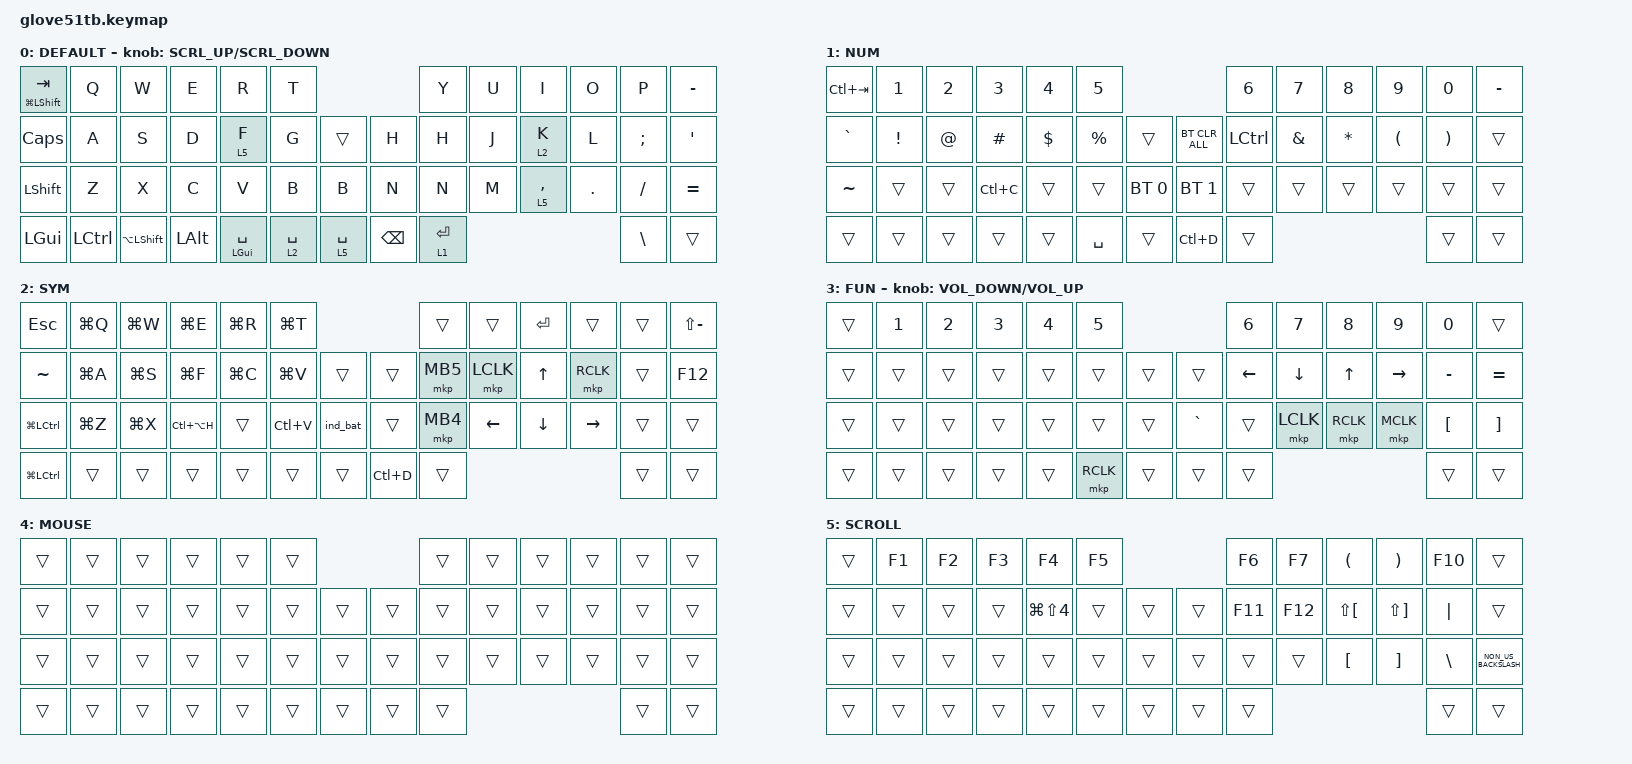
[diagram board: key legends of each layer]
#define ZMK_POINTING_DEFAULT_SCRL_VAL 150

#include <behaviors/rgbled_widget.dtsi>
#include <dt-bindings/zmk/input_transform.h>
#include <input/processors.dtsi>
#include <zephyr/dt-bindings/input/input-event-codes.h>
#include <behaviors.dtsi>
#include <dt-bindings/zmk/bt.h>
#include <dt-bindings/zmk/keys.h>
#include <dt-bindings/zmk/pointing.h>

// Layer Numbering

#define DEFAULT 0
#define NUM     1
#define SYM     2
#define FUN     3
#define MOUSE   4
#define SCROLL  5

&mmv {
    delay-ms = <20>;
    trigger-period-ms = <5>;
    time-to-max-speed-ms = <100>;
    acceleration-exponent = <2>;
};

&msc {
    delay-ms = <3>;
    trigger-period-ms = <3>;
    time-to-max-speed-ms = <100>;
    acceleration-exponent = <0>;
};

/ {
    input_processors {
        zip_wheel_scaler: zip_wheel_scaler {
            compatible = "zmk,input-processor-scaler";
            #input-processor-cells = <2>;
            type = <INPUT_EV_REL>;
            codes = <INPUT_REL_WHEEL>;
            track-remainders;
        };
    };
};

/ {
    combos {
        compatible = "zmk,combos";

        scroll {
            bindings = <&mo 5>;
            key-positions = <35 36>;
        };
    };

    behaviors {
        sensor_rotate_kp: sensor_rotate_kp {
            compatible = "zmk,behavior-sensor-rotate-var";
            #sensor-binding-cells = <2>;
            bindings = <&kp>, <&kp>;
        };

        mouse_wheel_scroll: mouse_wheel_scroll {
            compatible = "zmk,behavior-sensor-rotate-var";
            #sensor-binding-cells = <2>;
            bindings = <&msc>, <&msc>;

            tap-ms = <20>;
        };
    };

    keymap {
        compatible = "zmk,keymap";

        default_layer {
            label = "DEFAULT";
            bindings = <
&mt LG(LEFT_SHIFT) TAB  &kp Q             &kp W               &kp E         &kp R               &kp T                                    &kp Y        &kp U  &kp I        &kp O    &kp P          &kp MINUS
&kp CLCK                &kp A             &kp S               &kp D         &lt 5 F             &kp G        &trans       &kp H          &kp H        &kp J  &lt 2 K      &kp L    &kp SEMI       &kp SINGLE_QUOTE
&kp LEFT_SHIFT          &kp Z             &kp X               &kp C         &kp V               &kp B        &kp B        &kp N          &kp N        &kp M  &lt 5 COMMA  &kp DOT  &kp FSLH       &kp EQUAL
&kp LEFT_GUI            &kp LEFT_CONTROL  &kp LA(LEFT_SHIFT)  &kp LEFT_ALT  &mt LEFT_GUI SPACE  &lt 2 SPACE  &lt 5 SPACE  &kp BACKSPACE  &lt 1 ENTER                               &kp BACKSLASH  &trans
            >;

            sensor-bindings = <&mouse_wheel_scroll SCRL_UP SCRL_DOWN>;
        };

        number_layer {
            label = "NUM";
            bindings = <
&kp LC(TAB)  &kp N1           &kp N2       &kp N3     &kp N4      &kp N5                                     &kp N6     &kp N7         &kp N8        &kp N9                &kp N0                 &kp MINUS
&kp GRAVE    &kp EXCLAMATION  &kp AT_SIGN  &kp HASH   &kp DOLLAR  &kp PERCENT  &trans        &bt BT_CLR_ALL  &kp LCTRL  &kp AMPERSAND  &kp ASTERISK  &kp LEFT_PARENTHESIS  &kp RIGHT_PARENTHESIS  &trans
&kp TILDE    &trans           &trans       &kp LC(C)  &trans      &trans       &bt BT_SEL 0  &bt BT_SEL 1    &trans     &trans         &trans        &trans                &trans                 &trans
&trans       &trans           &trans       &trans     &trans      &kp SPACE    &trans        &kp LC(D)       &trans                                                        &trans                 &trans
            >;
        };

        symbol_layer {
            label = "SYM";
            bindings = <
&kp ESC               &kp LG(Q)  &kp LG(W)  &kp LG(E)      &kp LG(R)  &kp LG(T)                       &trans    &trans          &kp ENTER       &trans           &trans  &kp LS(MINUS)
&kp TILDE             &kp LG(A)  &kp LG(S)  &kp LG(F)      &kp LG(C)  &kp LG(V)  &trans    &trans     &mkp MB5  &mkp LCLK       &kp UP_ARROW    &mkp RCLK        &trans  &kp F12
&kp LG(LEFT_CONTROL)  &kp LG(Z)  &kp LG(X)  &kp LC(LA(H))  &trans     &kp LC(V)  &ind_bat  &trans     &mkp MB4  &kp LEFT_ARROW  &kp DOWN_ARROW  &kp RIGHT_ARROW  &trans  &trans
&kp LG(LEFT_CONTROL)  &trans     &trans     &trans         &trans     &trans     &trans    &kp LC(D)  &trans                                                     &trans  &trans
            >;
        };

        function_layer {
            label = "FUN";
            bindings = <
&trans  &kp NUMBER_1  &kp NUMBER_2  &kp NUMBER_3  &kp NUMBER_4  &kp NUMBER_5                     &kp NUMBER_6    &kp NUMBER_7    &kp NUMBER_8  &kp NUMBER_9     &kp NUMBER_0      &trans
&trans  &trans        &trans        &trans        &trans        &trans        &trans  &trans     &kp LEFT_ARROW  &kp DOWN_ARROW  &kp UP_ARROW  &kp RIGHT_ARROW  &kp MINUS         &kp EQUAL
&trans  &trans        &trans        &trans        &trans        &trans        &trans  &kp GRAVE  &trans          &mkp LCLK       &mkp RCLK     &mkp MCLK        &kp LEFT_BRACKET  &kp RIGHT_BRACKET
&trans  &trans        &trans        &trans        &trans        &mkp RCLK     &trans  &trans     &trans                                                         &trans            &trans
            >;

            sensor-bindings = <&sensor_rotate_kp C_VOLUME_DOWN C_VOLUME_UP>;
        };

        mouse_layer {
            label = "MOUSE";
            bindings = <
&trans  &trans  &trans  &trans  &trans  &trans                  &trans  &trans  &trans  &trans  &trans  &trans
&trans  &trans  &trans  &trans  &trans  &trans  &trans  &trans  &trans  &trans  &trans  &trans  &trans  &trans
&trans  &trans  &trans  &trans  &trans  &trans  &trans  &trans  &trans  &trans  &trans  &trans  &trans  &trans
&trans  &trans  &trans  &trans  &trans  &trans  &trans  &trans  &trans                          &trans  &trans
            >;
        };

        scroll_layer {
            label = "SCROLL";
            bindings = <
&trans  &kp F1  &kp F2  &kp F3  &kp F4                &kp F5                  &kp F6   &kp F7   &kp LEFT_PARENTHESIS  &kp RIGHT_PARENTHESIS  &kp F10        &trans
&trans  &trans  &trans  &trans  &kp LG(LS(NUMBER_4))  &trans  &trans  &trans  &kp F11  &kp F12  &kp LS(LEFT_BRACKET)  &kp LS(RIGHT_BRACKET)  &kp PIPE       &trans
&trans  &trans  &trans  &trans  &trans                &trans  &trans  &trans  &trans   &trans   &kp LEFT_BRACKET      &kp RIGHT_BRACKET      &kp BACKSLASH  &kp NON_US_BACKSLASH
&trans  &trans  &trans  &trans  &trans                &trans  &trans  &trans  &trans                                                         &trans         &trans
            >;
        };
    };
};
